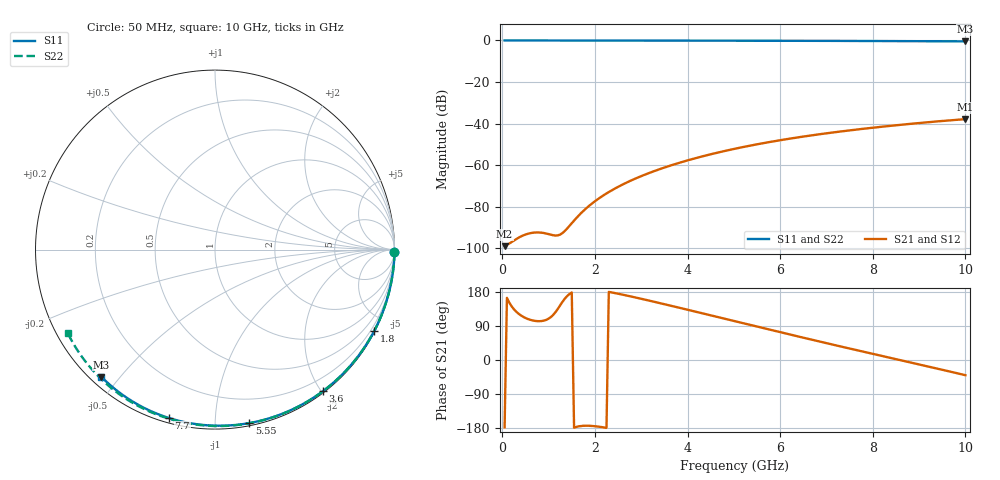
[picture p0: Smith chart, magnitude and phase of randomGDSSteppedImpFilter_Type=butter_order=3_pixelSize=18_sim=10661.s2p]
! freq	dB(S11)	phase(S11)	dB(S12)	phase(S12)
!  dB(S21)	phase(S21)	dB(S22)	phase(S22)
!S-par simulation data
#  GHz  S  DB  R 50
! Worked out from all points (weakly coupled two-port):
!   200 points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, 50 MHz to 10 GHz, reference 50 ohm
!   highest |S21| = -37.87 dB at 10 GHz (marker M1); lowest = -99.0 dB at 50 MHz (marker M2)
!   lowest |S11| = -0.4 dB at 10 GHz (marker M3), VSWR 39.22, Z = 1.53 - j22.4 ohm
!   |S11| at or under -10 dB: nowhere
!   |S22| runs from -0.5 to 0.0 dB; largest |S21 - S12| = 0
!   S11 on the Smith chart (normalised r, x): 50 MHz: open; 1.8 GHz: 0.04, -4.17; 3.6 GHz: 0.02, -2.01; 5.55 GHz: 0.02, -1.22; 7.7 GHz: 0.02, -0.76; 10 GHz: 0.03, -0.45
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0.05  -0.00 -0.8  -98.97 -177.7  -98.97 -177.7  -0.00 -0.9
0.45  -0.01 -6.8  -93.81 114.0  -93.81 114.0  -0.01 -7.8
0.9  -0.02 -13.6  -92.66 104.0  -92.66 104.0  -0.02 -15.5
1.3  -0.02 -19.6  -92.66 153.6  -92.66 153.6  -0.03 -22.2
1.75  -0.03 -26.3  -82.03 -173.6  -82.03 -173.6  -0.04 -29.8
1.8  -0.03 -27.0  -81.00 -173.4  -81.00 -173.4  -0.04 -30.6
1.85  -0.04 -27.7  -80.03 -173.4  -80.03 -173.4  -0.04 -31.4
2.05  -0.04 -30.7  -76.55 -175.5  -76.55 -175.5  -0.04 -34.8
2.2  -0.04 -32.9  -74.31 -178.1  -74.31 -178.1  -0.05 -37.2
2.55  -0.05 -37.9  -69.85 173.7  -69.85 173.7  -0.06 -43.0
2.95  -0.06 -43.7  -65.73 163.0  -65.73 163.0  -0.06 -49.4
3.4  -0.07 -50.0  -61.90 150.2  -61.90 150.2  -0.07 -56.6
3.6  -0.07 -52.8  -60.41 144.4  -60.41 144.4  -0.08 -59.7
4.3  -0.09 -62.4  -55.89 123.8  -55.89 123.8  -0.10 -70.5
5.05  -0.11 -72.4  -51.97 101.6  -51.97 101.6  -0.13 -81.7
5.55  -0.13 -78.8  -49.76 86.8  -49.76 86.8  -0.15 -89.0
6.1  -0.15 -85.8  -47.62 70.6  -47.62 70.6  -0.17 -96.9
6.7  -0.18 -93.3  -45.59 53.1  -45.59 53.1  -0.20 -105.3
7.7  -0.24 -105.3  -42.74 24.6  -42.74 24.6  -0.27 -119.0
8.35  -0.29 -112.9  -41.15 6.5  -41.15 6.5  -0.33 -127.9
9.2  -0.36 -122.7  -39.32 -17.3  -39.32 -17.3  -0.41 -139.4
10  -0.44 -131.7  -37.87 -40.1  -37.87 -40.1  -0.51 -150.4
